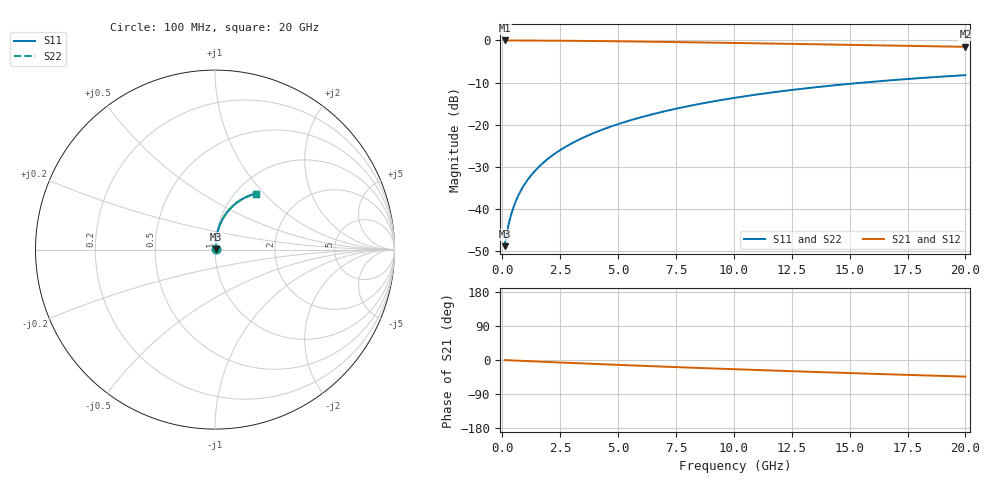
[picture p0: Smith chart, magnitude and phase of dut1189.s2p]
! Touchstone file exported from HFSS 2024.1.0
!  File:  C:/UserFiles/LocalFiles/RDL_TSV_Batchsim/temp_RDL_top_1189_1780049547.aedt
!  Generated:  06:14:15 PM May 29, 2026
!  Design:  RDL_top
!  Project:  temp_RDL_top_1189_1780049547
!  Setup:  Setup1
!  Solution:  Sweep
! Variables:
!  dtsv = 10.80580581um
!  hbump = 3um
!  htsv = 72.82um
!  ldown = 100um
!  lrdl = 633.92um
!  p = 40
!  p1 = 48.02um
!  rhole = 1um
!  t = 450um
!  tdown = 3.915915916um
!  trdl = 4.08um
!  wdown = 15.38538539um
!  wrdl = 20.02um
# GHz S MA R 50.000000
! Terminal data exported
! Port[1] = Box2_T1
! Port[2] = Box2_T2
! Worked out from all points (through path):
!   200 points, 100 MHz to 20 GHz, reference 50 ohm
!   highest |S21| = -0.03 dB at 100 MHz (marker M1); lowest = -1.5 dB at 20 GHz (marker M2)
!   group delay of S21, straight-line fit = 6.05 ps
!   lowest |S11| = -48.8 dB at 100 MHz (marker M3), VSWR 1.01, Z = 50.3 + j0.22 ohm
!   |S11| at or under -10 dB: start of sweep to 15.61 GHz
!   |S22| runs from -48.8 to -8.3 dB; largest |S21 - S12| = 3.4e-15
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0.1  0.00364 37.0  0.9971 -0.3  0.9971 -0.3  0.00364 37.0
! Gamma 0 0 0 0
! Port Impedance 50 0 50 0
0.2  0.00528 54.6  0.9969 -0.6  0.9969 -0.6  0.00528 54.6
0.3  0.00711 63.0  0.9967 -0.8  0.9967 -0.8  0.007111 63.0
0.4  0.008975 67.9  0.9965 -1.1  0.9965 -1.1  0.008976 67.9
0.5  0.01085 71.2  0.9963 -1.4  0.9963 -1.4  0.01085 71.2
0.6  0.01274 73.5  0.9962 -1.6  0.9962 -1.6  0.01274 73.5
0.8  0.01655 76.7  0.9958 -2.1  0.9958 -2.1  0.01655 76.7
1.1  0.02234 79.5  0.9952 -2.9  0.9952 -2.9  0.02234 79.5
1.3  0.02624 80.6  0.9947 -3.5  0.9947 -3.5  0.02624 80.6
1.6  0.03214 81.7  0.9938 -4.2  0.9938 -4.2  0.03214 81.7
2.1  0.04207 82.6  0.992 -5.6  0.992 -5.6  0.04207 82.6
2.7  0.05413 83.0  0.9893 -7.1  0.9893 -7.1  0.05413 83.0
3.5  0.07044 82.8  0.9849 -9.2  0.9849 -9.2  0.07043 82.8
4.2  0.08491 82.3  0.9805 -10.9  0.9805 -10.9  0.08489 82.3
5  0.1016 81.5  0.9747 -12.9  0.9747 -12.9  0.1016 81.5
6.8  0.1399 78.9  0.9603 -17.1  0.9603 -17.1  0.1398 78.9
8.4  0.174 76.2  0.9463 -20.8  0.9463 -20.8  0.1739 76.1
10.1  0.2097 73.0  0.9307 -24.5  0.9307 -24.5  0.2096 72.9
11.7  0.2424 69.8  0.9158 -27.9  0.9158 -27.9  0.2423 69.8
13.4  0.2757 66.4  0.8998 -31.4  0.8998 -31.4  0.2755 66.4
16.7  0.3351 59.9  0.8686 -37.8  0.8686 -37.8  0.3349 59.9
20  0.3869 53.8  0.838 -43.9  0.838 -43.9  0.3867 53.7
